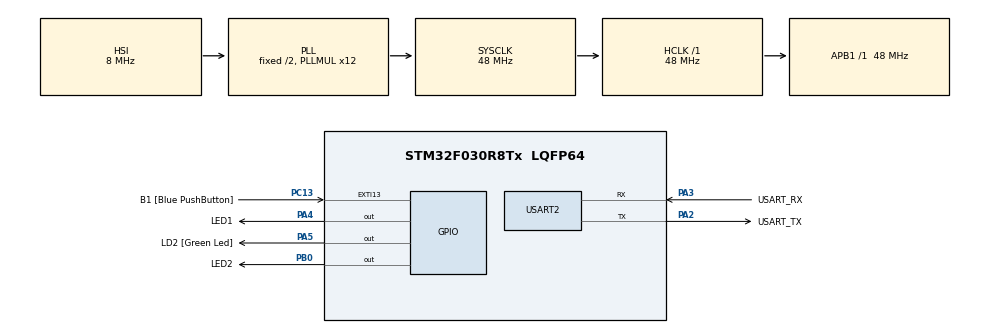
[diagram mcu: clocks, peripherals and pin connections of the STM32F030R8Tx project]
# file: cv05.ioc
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Dma.Request0=USART2_RX
Dma.USART2_RX.0.Direction=DMA_PERIPH_TO_MEMORY
Dma.USART2_RX.0.Instance=DMA1_Channel5
Dma.USART2_RX.0.MemDataAlignment=DMA_MDATAALIGN_BYTE
Dma.USART2_RX.0.MemInc=DMA_MINC_ENABLE
Dma.USART2_RX.0.Mode=DMA_CIRCULAR
Dma.USART2_RX.0.PeriphDataAlignment=DMA_PDATAALIGN_BYTE
Dma.USART2_RX.0.PeriphInc=DMA_PINC_DISABLE
Dma.USART2_RX.0.Priority=DMA_PRIORITY_LOW
Mcu.Family=STM32F0
Mcu.Name=STM32F030R8Tx
Mcu.Package=LQFP64
NVIC.DMA1_Channel4_5_IRQn=true\:0\:0\:false\:false\:true\:false\:true\:true
PA13.GPIO_Label=TMS
PA13.Mode=Serial_Wire
PA13.Signal=SYS_SWDIO
PA14.GPIO_Label=TCK
PA14.Mode=Serial_Wire
PA14.Signal=SYS_SWCLK
PA2.GPIO_Label=USART_TX
PA2.GPIO_Mode=GPIO_MODE_AF_PP
PA2.GPIO_PuPd=GPIO_NOPULL
PA2.GPIO_Speed=GPIO_SPEED_FREQ_LOW
PA2.Mode=Asynchronous
PA2.Signal=USART2_TX
PA3.GPIO_Label=USART_RX
PA3.GPIO_Mode=GPIO_MODE_AF_PP
PA3.GPIO_PuPd=GPIO_NOPULL
PA3.GPIO_Speed=GPIO_SPEED_FREQ_LOW
PA3.Mode=Asynchronous
PA3.Signal=USART2_RX
PA4.GPIO_Label=LED1
PA4.Signal=GPIO_Output
PA5.GPIO_Label=LD2 [Green Led]
PA5.GPIO_Mode=GPIO_MODE_OUTPUT_PP
PA5.GPIO_PuPd=GPIO_NOPULL
PA5.GPIO_Speed=GPIO_SPEED_FREQ_LOW
PA5.Signal=GPIO_Output
PB0.GPIO_Label=LED2
PB0.Signal=GPIO_Output
PC13.GPIO_Label=B1 [Blue PushButton]
PC13.GPIO_ModeDefaultEXTI=GPIO_MODE_IT_FALLING
PC13.Signal=GPXTI13
PC14-OSC32_IN.Mode=LSE-External-Oscillator
PC14-OSC32_IN.Signal=RCC_OSC32_IN
PC15-OSC32_OUT.Mode=LSE-External-Oscillator
PC15-OSC32_OUT.Signal=RCC_OSC32_OUT
PF0-OSC_IN.Mode=HSE-External-Clock-Source
PF0-OSC_IN.Signal=RCC_OSC_IN
PF1-OSC_OUT.Signal=RCC_OSC_OUT
ProjectManager.HeapSize=0x200
ProjectManager.StackSize=0x400
ProjectManager.TargetToolchain=STM32CubeIDE
RCC.AHBFreq_Value=48000000
RCC.APB1Freq_Value=48000000
RCC.APB1TimFreq_Value=48000000
RCC.HCLKFreq_Value=48000000
RCC.PLLMUL=RCC_PLL_MUL12
RCC.SYSCLKFreq_VALUE=48000000
RCC.SYSCLKSource=RCC_SYSCLKSOURCE_PLLCLK
USART2.VirtualMode-Asynchronous=VM_ASYNC
board=NUCLEO-F030R8

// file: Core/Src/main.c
/* USER CODE BEGIN Header */
/**
  ******************************************************************************
  * @file           : main.c
  * @brief          : Main program body
  ******************************************************************************
  * @attention
  *
  * Copyright (c) 2023 STMicroelectronics.
  * All rights reserved.
  *
  * This software is licensed under terms that can be found in the LICENSE file
  * in the root directory of this software component.
  * If no LICENSE file comes with this software, it is provided AS-IS.
  *
  ******************************************************************************
  */
/* USER CODE END Header */
#include "main.h"

/* USER CODE BEGIN Includes */
#include <stdio.h>
#include <stdbool.h>
#include <string.h>

/* USER CODE END Includes */

UART_HandleTypeDef huart2;
DMA_HandleTypeDef hdma_usart2_rx;

/* USER CODE BEGIN PV */
#define CMD_BUFFER_LEN 256
#define RX_BUFFER_LEN 64
static uint8_t uart_rx_buf[RX_BUFFER_LEN];
static volatile uint16_t uart_rx_read_ptr = 0;
#define uart_rx_write_ptr (RX_BUFFER_LEN - hdma_usart2_rx.Instance->CNDTR)

/* USER CODE END PV */

void SystemClock_Config(void);
static void MX_GPIO_Init(void);
static void MX_DMA_Init(void);
static void MX_USART2_UART_Init(void);

/* USER CODE BEGIN 0 */
static void uart_process_command(char *cmd)
{
	printf("prijato: '%s'\n", cmd);
}

int _write(int file, char const *buf, int n)
{
	/* stdout redirection to UART2 */
	HAL_UART_Transmit(&huart2, (uint8_t*)(buf), n, HAL_MAX_DELAY);
	return n;
}

static void uart_byte_available(uint8_t c)
{
	static uint16_t cnt;
	static char data[CMD_BUFFER_LEN];
	if (cnt < CMD_BUFFER_LEN && c >= 32 && c <= 126) data[cnt++] = c;
	if ((c == '\n' || c == '\r') && cnt > 0) {
		data[cnt] = '\0';
		uart_process_command(data);
		cnt = 0;
	}
}

/* USER CODE END 0 */

int main(void)
{

  /* MCU Configuration--------------------------------------------------------*/

  /* Reset of all peripherals, Initializes the Flash interface and the Systick. */
  HAL_Init();

  /* Configure the system clock */
  SystemClock_Config();

  /* Initialize all configured peripherals */
  MX_GPIO_Init();
  MX_DMA_Init();
  MX_USART2_UART_Init();
  /* USER CODE BEGIN 2 */
  HAL_UART_Receive_DMA(&huart2, uart_rx_buf, RX_BUFFER_LEN);
  /* USER CODE END 2 */

  /* Infinite loop */
  /* USER CODE BEGIN WHILE */
  while (1)
  {
	  while (uart_rx_read_ptr != uart_rx_write_ptr) {
		  uint8_t b = uart_rx_buf[uart_rx_read_ptr];
		  if (++uart_rx_read_ptr >= RX_BUFFER_LEN) uart_rx_read_ptr = 0; // increase read pointer
		  uart_byte_available(b); // process every received byte with the RX state machine
	  }

    /* USER CODE END WHILE */

  }
}

void SystemClock_Config(void)
{
  RCC_OscInitTypeDef RCC_OscInitStruct = {0};
  RCC_ClkInitTypeDef RCC_ClkInitStruct = {0};

  /** Initializes the RCC Oscillators according to the specified parameters
  * in the RCC_OscInitTypeDef structure.
  */
  RCC_OscInitStruct.OscillatorType = RCC_OSCILLATORTYPE_HSI;
  RCC_OscInitStruct.HSIState = RCC_HSI_ON;
  RCC_OscInitStruct.HSICalibrationValue = RCC_HSICALIBRATION_DEFAULT;
  RCC_OscInitStruct.PLL.PLLState = RCC_PLL_ON;
  RCC_OscInitStruct.PLL.PLLSource = RCC_PLLSOURCE_HSI;
  RCC_OscInitStruct.PLL.PLLMUL = RCC_PLL_MUL12;
  RCC_OscInitStruct.PLL.PREDIV = RCC_PREDIV_DIV1;
  if (HAL_RCC_OscConfig(&RCC_OscInitStruct) != HAL_OK)
  {
    Error_Handler();
  }

  /** Initializes the CPU, AHB and APB buses clocks
  */
  RCC_ClkInitStruct.ClockType = RCC_CLOCKTYPE_HCLK|RCC_CLOCKTYPE_SYSCLK
                              |RCC_CLOCKTYPE_PCLK1;
  RCC_ClkInitStruct.SYSCLKSource = RCC_SYSCLKSOURCE_PLLCLK;
  RCC_ClkInitStruct.AHBCLKDivider = RCC_SYSCLK_DIV1;
  RCC_ClkInitStruct.APB1CLKDivider = RCC_HCLK_DIV1;

  if (HAL_RCC_ClockConfig(&RCC_ClkInitStruct, FLASH_LATENCY_1) != HAL_OK)
  {
    Error_Handler();
  }
}

static void MX_USART2_UART_Init(void)
{

  huart2.Instance = USART2;
  huart2.Init.BaudRate = 38400;
  huart2.Init.WordLength = UART_WORDLENGTH_8B;
  huart2.Init.StopBits = UART_STOPBITS_1;
  huart2.Init.Parity = UART_PARITY_NONE;
  huart2.Init.Mode = UART_MODE_TX_RX;
  huart2.Init.HwFlowCtl = UART_HWCONTROL_NONE;
  huart2.Init.OverSampling = UART_OVERSAMPLING_16;
  huart2.Init.OneBitSampling = UART_ONE_BIT_SAMPLE_DISABLE;
  huart2.AdvancedInit.AdvFeatureInit = UART_ADVFEATURE_NO_INIT;
  if (HAL_UART_Init(&huart2) != HAL_OK)
  {
    Error_Handler();
  }

}

static void MX_DMA_Init(void)
{

  /* DMA controller clock enable */
  __HAL_RCC_DMA1_CLK_ENABLE();

  /* DMA interrupt init */
  /* DMA1_Channel4_5_IRQn interrupt configuration */
  HAL_NVIC_SetPriority(DMA1_Channel4_5_IRQn, 0, 0);
  HAL_NVIC_EnableIRQ(DMA1_Channel4_5_IRQn);

}

static void MX_GPIO_Init(void)
{
  GPIO_InitTypeDef GPIO_InitStruct = {0};

  /* GPIO Ports Clock Enable */
  __HAL_RCC_GPIOC_CLK_ENABLE();
  __HAL_RCC_GPIOF_CLK_ENABLE();
  __HAL_RCC_GPIOA_CLK_ENABLE();
  __HAL_RCC_GPIOB_CLK_ENABLE();

  /*Configure GPIO pin Output Level */
  HAL_GPIO_WritePin(GPIOA, LED1_Pin|LD2_Pin, GPIO_PIN_RESET);

  /*Configure GPIO pin Output Level */
  HAL_GPIO_WritePin(LED2_GPIO_Port, LED2_Pin, GPIO_PIN_RESET);

  /*Configure GPIO pin : B1_Pin */
  GPIO_InitStruct.Pin = B1_Pin;
  GPIO_InitStruct.Mode = GPIO_MODE_IT_FALLING;
  GPIO_InitStruct.Pull = GPIO_NOPULL;
  HAL_GPIO_Init(B1_GPIO_Port, &GPIO_InitStruct);

  /*Configure GPIO pins : LED1_Pin LD2_Pin */
  GPIO_InitStruct.Pin = LED1_Pin|LD2_Pin;
  GPIO_InitStruct.Mode = GPIO_MODE_OUTPUT_PP;
  GPIO_InitStruct.Pull = GPIO_NOPULL;
  GPIO_InitStruct.Speed = GPIO_SPEED_FREQ_LOW;
  HAL_GPIO_Init(GPIOA, &GPIO_InitStruct);

  /*Configure GPIO pin : LED2_Pin */
  GPIO_InitStruct.Pin = LED2_Pin;
  GPIO_InitStruct.Mode = GPIO_MODE_OUTPUT_PP;
  GPIO_InitStruct.Pull = GPIO_NOPULL;
  GPIO_InitStruct.Speed = GPIO_SPEED_FREQ_LOW;
  HAL_GPIO_Init(LED2_GPIO_Port, &GPIO_InitStruct);

}

/* USER CODE BEGIN 4 */

/*

	char *token;
	token = strtok(cmd, " ");

	if (strcasecmp(token, "HELLO") == 0) {
		printf("Komunikace OK\n");
	}
	else if (strcasecmp(token, "LED1") == 0) {
		token = strtok(NULL, " ");
		if (strcasecmp(token, "ON") == 0) HAL_GPIO_WritePin(LED1_GPIO_Port, LED1_Pin, GPIO_PIN_SET);
		else if (strcasecmp(token, "OFF") == 0) HAL_GPIO_WritePin(LED1_GPIO_Port, LED1_Pin, GPIO_PIN_RESET);
		printf("OK\n");
	}
	else if (strcasecmp(token, "LED2") == 0) {
		token = strtok(NULL, " ");
		if (strcasecmp(token, "ON") == 0) HAL_GPIO_WritePin(LED2_GPIO_Port, LED2_Pin, GPIO_PIN_SET);
		else if (strcasecmp(token, "OFF") == 0) HAL_GPIO_WritePin(LED2_GPIO_Port, LED2_Pin, GPIO_PIN_RESET);
		printf("OK\n");
	}
	else if (strcasecmp(token, "STATUS") == 0) {
		bool ld1 = HAL_GPIO_ReadPin(LED1_GPIO_Port, LED1_Pin);
		bool ld2 = HAL_GPIO_ReadPin(LED2_GPIO_Port, LED2_Pin);

		printf("Stav LED1=%s, LED2=%s\n", ld1?"on":"off", ld2?"on":"off");
	}
	else {
		printf("Neznamy prikaz\n");
	}

 */
/* USER CODE END 4 */

void Error_Handler(void)
{
  __disable_irq();
  while (1)
  {
  }
}
